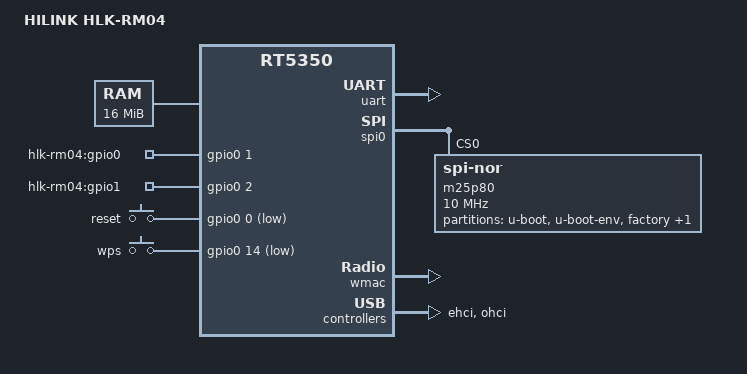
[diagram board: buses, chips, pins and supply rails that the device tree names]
/dts-v1/;

#include "rt5350.dtsi"

/ {
	compatible = "HLKRM04", "ralink,rt5350-soc";
	model = "HILINK HLK-RM04";

	memory@0 {
		device_type = "memory";
		reg = <0x0 0x1000000>;
	};

	chosen {
		bootargs = "console=ttyS1,57600";
	};

	gpio-export {
		compatible = "gpio-export";
		#size-cells = <0>;

		/* I2C */
		gpio1 {
			/* I2C_I2C_SD */
			gpio-export,name = "hlk-rm04:gpio0";
			gpio-export,direction_may_change = <1>;
			gpios = <&gpio0 1 0>;
		};
		gpio2 {
			/* I2C_I2C_SCLK */
			gpio-export,name = "hlk-rm04:gpio1";
			gpio-export,direction_may_change = <1>;
			gpios = <&gpio0 2 0>;
		};
	};

	gpio-keys-polled {
		compatible = "gpio-keys-polled";
		#address-cells = <1>;
		#size-cells = <0>;
		poll-interval = <20>;
		reset {
			label = "reset";
			gpios = <&gpio0 0 1>;
			linux,code = <0x198>;
		};
		wps {
			label = "wps";
			gpios = <&gpio0 14 1>;
			linux,code = <0x211>;
		};
	};
};

&uart {
	status = "okay";
};

&spi0 {
	status = "okay";

	m25p80@0 {
		#address-cells = <1>;
		#size-cells = <1>;
		compatible = "jedec,spi-nor";
		reg = <0>;
		linux,modalias = "m25p80", "s25fl064k";
		spi-max-frequency = <10000000>;

		partition@0 {
			label = "u-boot";
			reg = <0x0 0x30000>;
			read-only;
		};

		partition@30000 {
			label = "u-boot-env";
			reg = <0x30000 0x10000>;
			read-only;
		};

		factory: partition@40000 {
			label = "factory";
			reg = <0x40000 0x10000>;
			read-only;
		};

		partition@50000 {
			label = "firmware";
			reg = <0x50000 0x3b0000>;
		};
	};
};

&pinctrl {
	state_default: pinctrl0 {
		gpio {
			ralink,group = "i2c", "jtag";
			ralink,function = "gpio";
		};

		uartf_gpio {
			ralink,group = "uartf";
			ralink,function = "gpio uartf";
		};
	};
};

&ethernet {
	mtd-mac-address = <&factory 0x4>;
};

&wmac {
	ralink,mtd-eeprom = <&factory 0>;
};

&ehci {
	status = "okay";
};

&ohci {
	status = "okay";
};
